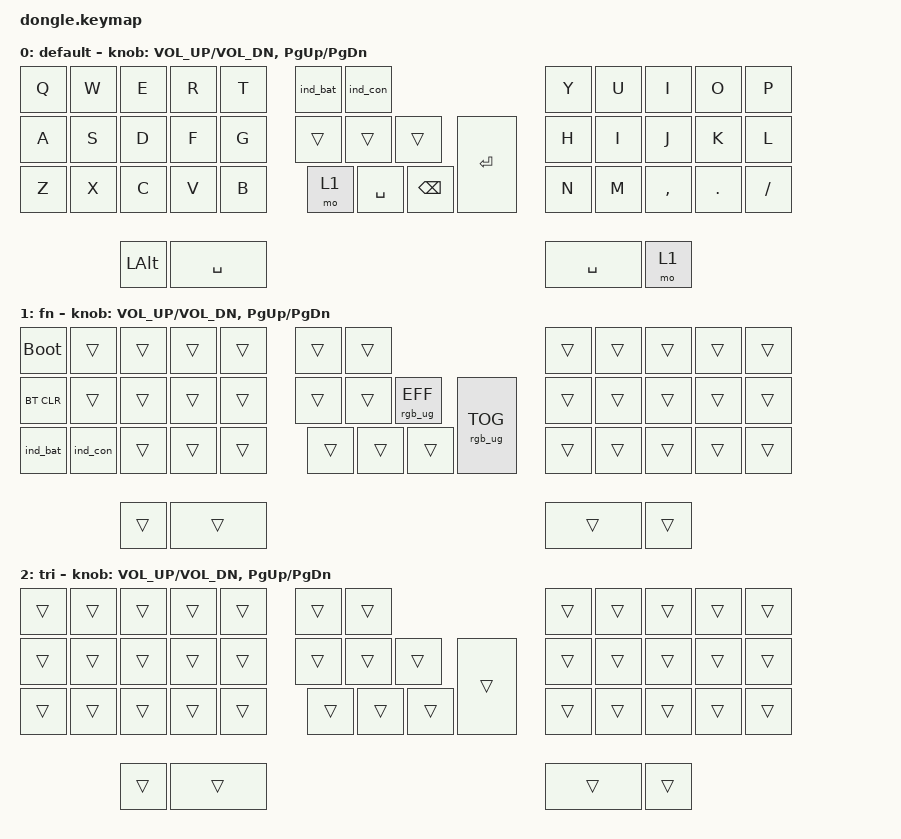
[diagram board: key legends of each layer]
#include <behaviors.dtsi>
#include <dt-bindings/zmk/bt.h>
#include <dt-bindings/zmk/keys.h>
#include <dt-bindings/zmk/rgb.h>
#include <behaviors/rgbled_widget.dtsi>

/ {
    keymap0: keymap {
        compatible = "zmk,keymap";

        default_layer {
            display-name = "default";
            bindings = <
&kp Q    &kp W     &kp E       &kp R      &kp T          &ind_bat  &ind_con                        &kp Y      &kp U          &kp I          &kp O       &kp P         
&kp A    &kp S     &kp D       &kp F      &kp G          &trans    &trans     &trans  &kp ENTER    &kp H      &kp I          &kp J          &kp K       &kp L   
&kp Z    &kp X     &kp C       &kp V      &kp B          &mo 1     &kp SPACE  &kp BACKSPACE        &kp N      &kp M          &kp COMMA      &kp PERIOD  &kp FSLH      
                   &kp LEFT_ALT           &kp SPACE                                                &kp SPACE                 &mo 1                            
            >; 
                sensor-bindings = <&inc_dec_kp C_VOL_UP C_VOL_DN &inc_dec_kp PG_UP PG_DN>;
        };

        fn_layer {
            display-name = "fn";
            bindings = <
&bootloader &trans    &trans  &trans  &trans     &trans  &trans                                      &trans  &trans  &trans  &trans  &trans       
&bt BT_CLR  &trans    &trans  &trans  &trans     &trans  &trans  &rgb_ug RGB_EFF  &rgb_ug RGB_TOG    &trans  &trans  &trans  &trans  &trans      
&ind_bat    &ind_con  &trans  &trans  &trans     &trans  &trans  &trans                              &trans  &trans  &trans  &trans  &trans      
                      &trans          &trans                                                         &trans          &trans                
            >;
                sensor-bindings = <&inc_dec_kp C_VOL_UP C_VOL_DN &inc_dec_kp PG_UP PG_DN>;
        };

        tri_layer {
            display-name = "tri";
            bindings = <
&trans  &trans  &trans  &trans  &trans       &trans  &trans                      &trans  &trans  &trans  &trans  &trans    
&trans  &trans  &trans  &trans  &trans       &trans  &trans  &trans  &trans      &trans  &trans  &trans  &trans  &trans
&trans  &trans  &trans  &trans  &trans       &trans  &trans  &trans              &trans  &trans  &trans  &trans  &trans 
                &trans          &trans                                           &trans          &trans              
            >;
                sensor-bindings = <&inc_dec_kp C_VOL_UP C_VOL_DN &inc_dec_kp PG_UP PG_DN>;
        };
    };
};
